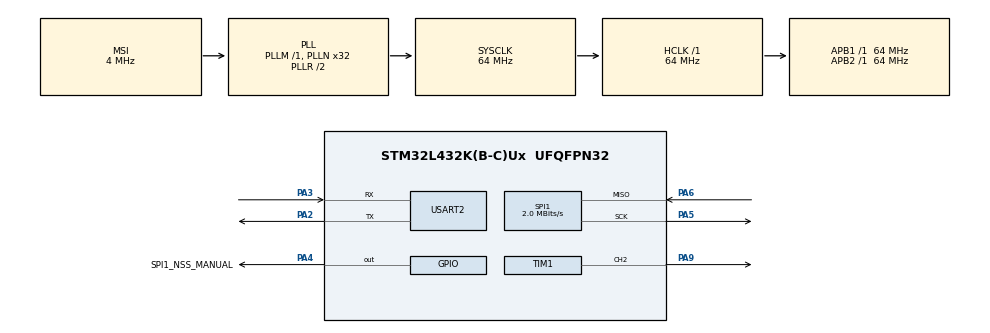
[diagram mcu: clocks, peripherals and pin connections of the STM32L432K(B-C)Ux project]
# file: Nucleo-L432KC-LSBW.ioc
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Mcu.Family=STM32L4
Mcu.Name=STM32L432K(B-C)Ux
Mcu.Package=UFQFPN32
NVIC.PriorityGroup=NVIC_PRIORITYGROUP_4
NVIC.TIM1_UP_TIM16_IRQn=true\:0\:0\:false\:false\:true\:true\:true\:true
NVIC.TIM6_DAC_IRQn=true\:0\:0\:false\:false\:true\:true\:true\:true
NVIC.TIM7_IRQn=true\:0\:0\:false\:false\:true\:true\:true\:true
NVIC.USART2_IRQn=true\:0\:0\:false\:false\:true\:true\:true\:true
PA13\ (JTMS-SWDIO).Mode=Serial_Wire
PA13\ (JTMS-SWDIO).Signal=SYS_JTMS-SWDIO
PA14\ (JTCK-SWCLK).Mode=Serial_Wire
PA14\ (JTCK-SWCLK).Signal=SYS_JTCK-SWCLK
PA2.Mode=Asynchronous
PA2.Signal=USART2_TX
PA3.Mode=Asynchronous
PA3.Signal=USART2_RX
PA4.GPIO_Label=SPI1_NSS_MANUAL
PA4.Signal=GPIO_Output
PA5.Mode=RX_Only_Simplex_Unidirect_Master
PA5.Signal=SPI1_SCK
PA6.Mode=RX_Only_Simplex_Unidirect_Master
PA6.Signal=SPI1_MISO
PA9.Signal=S_TIM1_CH2
ProjectManager.HeapSize=0x200
ProjectManager.StackSize=0x400
ProjectManager.TargetToolchain=STM32CubeIDE
RCC.ADCFreq_Value=16000000
RCC.AHBFreq_Value=64000000
RCC.APB1Freq_Value=64000000
RCC.APB1TimFreq_Value=64000000
RCC.APB2Freq_Value=64000000
RCC.APB2TimFreq_Value=64000000
RCC.CortexFreq_Value=64000000
RCC.HCLKFreq_Value=64000000
RCC.HSE_VALUE=8000000
RCC.HSI48_VALUE=48000000
RCC.HSI_VALUE=16000000
RCC.LSE_VALUE=32768
RCC.MSI_VALUE=4000000
RCC.PLLN=32
RCC.SYSCLKFreq_VALUE=64000000
RCC.SYSCLKSource=RCC_SYSCLKSOURCE_PLLCLK
RCC.USBFreq_Value=16000000
RCC.VCOOutputFreq_Value=128000000
SH.S_TIM1_CH2.0=TIM1_CH2,PWM Generation2 CH2
SPI1.BaudRatePrescaler=SPI_BAUDRATEPRESCALER_32
SPI1.CLKPhase=SPI_PHASE_2EDGE
SPI1.CalculateBaudRate=2.0 MBits/s
SPI1.DataSize=SPI_DATASIZE_16BIT
SPI1.Direction=SPI_DIRECTION_2LINES_RXONLY
SPI1.Mode=SPI_MODE_MASTER
SPI1.VirtualType=VM_MASTER
TIM1.Channel-PWM\ Generation2\ CH2=TIM_CHANNEL_2
TIM1.Period=1999
TIM1.Prescaler=639
TIM1.Pulse-PWM\ Generation2\ CH2=100
TIM16.Period=20000
TIM16.Prescaler=160-1
TIM6.Period=40000
TIM6.Prescaler=16-1
TIM7.Period=20000
TIM7.Prescaler=16-1
USART2.VirtualMode-Asynchronous=VM_ASYNC
VP_TIM16_VS_ClockSourceINT.Mode=Enable_Timer
VP_TIM6_VS_ClockSourceINT.Mode=Enable_Timer
VP_TIM7_VS_ClockSourceINT.Mode=Enable_Timer
board=custom

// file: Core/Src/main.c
/* USER CODE BEGIN Header */
/**
  ******************************************************************************
  * @file           : main.c
  * @brief          : Main program body
  ******************************************************************************
  * @attention
  *
  * Copyright (c) 2022 STMicroelectronics.
  * All rights reserved.
  *
  * This software is licensed under terms that can be found in the LICENSE file
  * in the root directory of this software component.
  * If no LICENSE file comes with this software, it is provided AS-IS.
  *
  ******************************************************************************
  */
/* USER CODE END Header */
#include "main.h"

/* USER CODE BEGIN Includes */

#include "utils.h"
#include "math.h"
#include <stdio.h>
#include "as5047p.h"
#include <stdbool.h>
/* USER CODE END Includes */

SPI_HandleTypeDef hspi1;

TIM_HandleTypeDef htim1;
TIM_HandleTypeDef htim6;
TIM_HandleTypeDef htim7;
TIM_HandleTypeDef htim16;

UART_HandleTypeDef huart2;

void SystemClock_Config(void);
static void MX_GPIO_Init(void);
static void MX_USART2_UART_Init(void);
static void MX_SPI1_Init(void);
static void MX_TIM6_Init(void);
static void MX_TIM7_Init(void);
static void MX_TIM16_Init(void);
static void MX_TIM1_Init(void);

/* USER CODE BEGIN 0 */
double error = 0.0;
double error_prev = 0.0;

double steerRaw = 0.0;
double steer_measured = 0.0;
double steer_desired = 0.0;
double const steer_offset = -160;
const double steer_left = 40;
const double steer_right = 190;
const double steer_center = (steer_right + steer_left) / 2;

//full right is 200, full left is 100, hold position is 150
int dutyCycle = 150;
int dutyMax = 200;
int dutyMin = 100;

// uart print to serial terminal for debugging purpose
int _write(int file, char *ptr, int len){
	HAL_UART_Transmit(&huart2, (uint8_t*)ptr, len, HAL_MAX_DELAY);
	return len;
}

// read the current steering angle from the sensor
double steerSum = 0.0;
const int steerLength = 55;
double steerBuffer[55] = {0};
int steerIndex = 0;
bool steerFilled = false;
void read_steer(){
	as5047p_spi_comm_stats_t as5047p;

    if (spi_as5047p_blocking_read(&steerRaw, &as5047p) == HAL_OK) {
    	steerRaw += steer_offset;
    	if (steerRaw <0) steerRaw += 360;
    	//rolling average
    	double newSample = steerRaw;

    	        // Remove oldest value
    	        steerSum -= steerBuffer[steerIndex];
    	        // Add new value
    	        steerBuffer[steerIndex] = newSample;
    	        steerSum += newSample;

    	        // Advance index
    	        steerIndex = (steerIndex + 1) % steerLength;

    	        // Compute average
    	        int divisor = steerFilled ? steerLength : steerIndex;
    	        if (steerIndex == 0) steerFilled = true;

    	        steer_measured = steerSum / (double)divisor;
    }
}

// modified PID control for steering current
void computeDutyCycle(){

	if (steer_desired > steer_right || steer_desired < steer_left)
	{
		dutyCycle = (dutyMax + dutyMin) / 2;
		return;
	}
	if (steer_measured > steer_right || steer_measured < steer_left)
	{
		dutyCycle = (dutyMax + dutyMin) / 2;
		return;
	}

    error = steer_desired - steer_measured;
    //positive = turn left, negative = right

    // ignore small error to avoid oscillation
    if (fabs(error) < 0.1)
    {
    	error = error_prev = 0.0;
    	dutyCycle = (dutyMax + dutyMin) / 2;
    	return;
    }

    double limit = fabs(steer_right - steer_left) * 0.7 * 3; //the minimum error value for which the duty cycle is maximized.
    int m = (dutyMax + dutyMin)/2;
    double minOffset = m / 25;
    double sign = error / fabs(error);
    int duty = m -(error * m/(limit*1.136)) - sign*minOffset; //1.5 fixes the shift from minOffset

    dutyCycle = duty;

	//max duty cyle at |error| > limit

    if (dutyCycle > dutyMax){
    	dutyCycle = dutyMax;
    }
    if (dutyCycle < dutyMin){
    	dutyCycle = dutyMin;
    }

	error_prev = error;
}

void HAL_TIM_PeriodElapsedCallback(TIM_HandleTypeDef *htim) {
	// 25Hz - 40ms steering motor NEO1650 control loop
	if (htim == &htim6) {
		steer_desired = steer_center;
		computeDutyCycle();

		//steering bounds are 22 to 32 -- center is 27

		//send_command();
	}

	// 50Hz - 20ms read current steering angle from AS5047 sensor
	if (htim == &htim7) {
		read_steer();
	}
}

/* USER CODE END 0 */

int main(void)
{

  /* MCU Configuration--------------------------------------------------------*/

  /* Reset of all peripherals, Initializes the Flash interface and the Systick. */
  HAL_Init();

  /* Configure the system clock */
  SystemClock_Config();

  /* Initialize all configured peripherals */
  MX_GPIO_Init();
  MX_USART2_UART_Init();
  MX_SPI1_Init();
  MX_TIM6_Init();
  MX_TIM7_Init();
  MX_TIM16_Init();
  MX_TIM1_Init();
  /* USER CODE BEGIN 2 */

  HAL_TIM_PWM_Start(&htim1, TIM_CHANNEL_2);

  /* USER CODE END 2 */

  /* Infinite loop */
  /* USER CODE BEGIN WHILE */
  while (1)
  {
	  __HAL_TIM_SET_COMPARE(&htim1, TIM_CHANNEL_2, dutyCycle);
  }
    /* USER CODE END WHILE */

}

void SystemClock_Config(void)
{
  RCC_OscInitTypeDef RCC_OscInitStruct = {0};
  RCC_ClkInitTypeDef RCC_ClkInitStruct = {0};

  /** Configure the main internal regulator output voltage
  */
  if (HAL_PWREx_ControlVoltageScaling(PWR_REGULATOR_VOLTAGE_SCALE1) != HAL_OK)
  {
    Error_Handler();
  }

  /** Initializes the RCC Oscillators according to the specified parameters
  * in the RCC_OscInitTypeDef structure.
  */
  RCC_OscInitStruct.OscillatorType = RCC_OSCILLATORTYPE_MSI;
  RCC_OscInitStruct.MSIState = RCC_MSI_ON;
  RCC_OscInitStruct.MSICalibrationValue = 0;
  RCC_OscInitStruct.MSIClockRange = RCC_MSIRANGE_6;
  RCC_OscInitStruct.PLL.PLLState = RCC_PLL_ON;
  RCC_OscInitStruct.PLL.PLLSource = RCC_PLLSOURCE_MSI;
  RCC_OscInitStruct.PLL.PLLM = 1;
  RCC_OscInitStruct.PLL.PLLN = 32;
  RCC_OscInitStruct.PLL.PLLP = RCC_PLLP_DIV7;
  RCC_OscInitStruct.PLL.PLLQ = RCC_PLLQ_DIV2;
  RCC_OscInitStruct.PLL.PLLR = RCC_PLLR_DIV2;
  if (HAL_RCC_OscConfig(&RCC_OscInitStruct) != HAL_OK)
  {
    Error_Handler();
  }

  /** Initializes the CPU, AHB and APB buses clocks
  */
  RCC_ClkInitStruct.ClockType = RCC_CLOCKTYPE_HCLK|RCC_CLOCKTYPE_SYSCLK
                              |RCC_CLOCKTYPE_PCLK1|RCC_CLOCKTYPE_PCLK2;
  RCC_ClkInitStruct.SYSCLKSource = RCC_SYSCLKSOURCE_PLLCLK;
  RCC_ClkInitStruct.AHBCLKDivider = RCC_SYSCLK_DIV1;
  RCC_ClkInitStruct.APB1CLKDivider = RCC_HCLK_DIV1;
  RCC_ClkInitStruct.APB2CLKDivider = RCC_HCLK_DIV1;

  if (HAL_RCC_ClockConfig(&RCC_ClkInitStruct, FLASH_LATENCY_3) != HAL_OK)
  {
    Error_Handler();
  }
}

static void MX_SPI1_Init(void)
{

  /* SPI1 parameter configuration*/
  hspi1.Instance = SPI1;
  hspi1.Init.Mode = SPI_MODE_MASTER;
  hspi1.Init.Direction = SPI_DIRECTION_2LINES_RXONLY;
  hspi1.Init.DataSize = SPI_DATASIZE_16BIT;
  hspi1.Init.CLKPolarity = SPI_POLARITY_LOW;
  hspi1.Init.CLKPhase = SPI_PHASE_2EDGE;
  hspi1.Init.NSS = SPI_NSS_SOFT;
  hspi1.Init.BaudRatePrescaler = SPI_BAUDRATEPRESCALER_32;
  hspi1.Init.FirstBit = SPI_FIRSTBIT_MSB;
  hspi1.Init.TIMode = SPI_TIMODE_DISABLE;
  hspi1.Init.CRCCalculation = SPI_CRCCALCULATION_DISABLE;
  hspi1.Init.CRCPolynomial = 7;
  hspi1.Init.CRCLength = SPI_CRC_LENGTH_DATASIZE;
  hspi1.Init.NSSPMode = SPI_NSS_PULSE_DISABLE;
  if (HAL_SPI_Init(&hspi1) != HAL_OK)
  {
    Error_Handler();
  }

}

static void MX_TIM1_Init(void)
{

  TIM_MasterConfigTypeDef sMasterConfig = {0};
  TIM_OC_InitTypeDef sConfigOC = {0};
  TIM_BreakDeadTimeConfigTypeDef sBreakDeadTimeConfig = {0};

  htim1.Instance = TIM1;
  htim1.Init.Prescaler = 639;
  htim1.Init.CounterMode = TIM_COUNTERMODE_UP;
  htim1.Init.Period = 1999;
  htim1.Init.ClockDivision = TIM_CLOCKDIVISION_DIV1;
  htim1.Init.RepetitionCounter = 0;
  htim1.Init.AutoReloadPreload = TIM_AUTORELOAD_PRELOAD_DISABLE;
  if (HAL_TIM_PWM_Init(&htim1) != HAL_OK)
  {
    Error_Handler();
  }
  sMasterConfig.MasterOutputTrigger = TIM_TRGO_RESET;
  sMasterConfig.MasterOutputTrigger2 = TIM_TRGO2_RESET;
  sMasterConfig.MasterSlaveMode = TIM_MASTERSLAVEMODE_DISABLE;
  if (HAL_TIMEx_MasterConfigSynchronization(&htim1, &sMasterConfig) != HAL_OK)
  {
    Error_Handler();
  }
  sConfigOC.OCMode = TIM_OCMODE_PWM1;
  sConfigOC.Pulse = 100;
  sConfigOC.OCPolarity = TIM_OCPOLARITY_HIGH;
  sConfigOC.OCNPolarity = TIM_OCNPOLARITY_HIGH;
  sConfigOC.OCFastMode = TIM_OCFAST_DISABLE;
  sConfigOC.OCIdleState = TIM_OCIDLESTATE_RESET;
  sConfigOC.OCNIdleState = TIM_OCNIDLESTATE_RESET;
  if (HAL_TIM_PWM_ConfigChannel(&htim1, &sConfigOC, TIM_CHANNEL_2) != HAL_OK)
  {
    Error_Handler();
  }
  sBreakDeadTimeConfig.OffStateRunMode = TIM_OSSR_DISABLE;
  sBreakDeadTimeConfig.OffStateIDLEMode = TIM_OSSI_DISABLE;
  sBreakDeadTimeConfig.LockLevel = TIM_LOCKLEVEL_OFF;
  sBreakDeadTimeConfig.DeadTime = 0;
  sBreakDeadTimeConfig.BreakState = TIM_BREAK_DISABLE;
  sBreakDeadTimeConfig.BreakPolarity = TIM_BREAKPOLARITY_HIGH;
  sBreakDeadTimeConfig.BreakFilter = 0;
  sBreakDeadTimeConfig.Break2State = TIM_BREAK2_DISABLE;
  sBreakDeadTimeConfig.Break2Polarity = TIM_BREAK2POLARITY_HIGH;
  sBreakDeadTimeConfig.Break2Filter = 0;
  sBreakDeadTimeConfig.AutomaticOutput = TIM_AUTOMATICOUTPUT_DISABLE;
  if (HAL_TIMEx_ConfigBreakDeadTime(&htim1, &sBreakDeadTimeConfig) != HAL_OK)
  {
    Error_Handler();
  }
  HAL_TIM_MspPostInit(&htim1);

}

static void MX_TIM6_Init(void)
{

  TIM_MasterConfigTypeDef sMasterConfig = {0};

  htim6.Instance = TIM6;
  htim6.Init.Prescaler = 16-1;
  htim6.Init.CounterMode = TIM_COUNTERMODE_UP;
  htim6.Init.Period = 40000;
  htim6.Init.AutoReloadPreload = TIM_AUTORELOAD_PRELOAD_DISABLE;
  if (HAL_TIM_Base_Init(&htim6) != HAL_OK)
  {
    Error_Handler();
  }
  sMasterConfig.MasterOutputTrigger = TIM_TRGO_RESET;
  sMasterConfig.MasterSlaveMode = TIM_MASTERSLAVEMODE_DISABLE;
  if (HAL_TIMEx_MasterConfigSynchronization(&htim6, &sMasterConfig) != HAL_OK)
  {
    Error_Handler();
  }
  /* USER CODE BEGIN TIM6_Init 2 */
  HAL_TIM_Base_Start_IT(&htim6);
  /* USER CODE END TIM6_Init 2 */

}

static void MX_TIM7_Init(void)
{

  TIM_MasterConfigTypeDef sMasterConfig = {0};

  htim7.Instance = TIM7;
  htim7.Init.Prescaler = 16-1;
  htim7.Init.CounterMode = TIM_COUNTERMODE_UP;
  htim7.Init.Period = 20000;
  htim7.Init.AutoReloadPreload = TIM_AUTORELOAD_PRELOAD_DISABLE;
  if (HAL_TIM_Base_Init(&htim7) != HAL_OK)
  {
    Error_Handler();
  }
  sMasterConfig.MasterOutputTrigger = TIM_TRGO_RESET;
  sMasterConfig.MasterSlaveMode = TIM_MASTERSLAVEMODE_DISABLE;
  if (HAL_TIMEx_MasterConfigSynchronization(&htim7, &sMasterConfig) != HAL_OK)
  {
    Error_Handler();
  }
  /* USER CODE BEGIN TIM7_Init 2 */
  HAL_TIM_Base_Start_IT(&htim7);
  /* USER CODE END TIM7_Init 2 */

}

static void MX_TIM16_Init(void)
{

  htim16.Instance = TIM16;
  htim16.Init.Prescaler = 160-1;
  htim16.Init.CounterMode = TIM_COUNTERMODE_UP;
  htim16.Init.Period = 20000;
  htim16.Init.ClockDivision = TIM_CLOCKDIVISION_DIV1;
  htim16.Init.RepetitionCounter = 0;
  htim16.Init.AutoReloadPreload = TIM_AUTORELOAD_PRELOAD_DISABLE;
  if (HAL_TIM_Base_Init(&htim16) != HAL_OK)
  {
    Error_Handler();
  }
  /* USER CODE BEGIN TIM16_Init 2 */
  HAL_TIM_Base_Start_IT(&htim16);
  /* USER CODE END TIM16_Init 2 */

}

static void MX_USART2_UART_Init(void)
{

  huart2.Instance = USART2;
  huart2.Init.BaudRate = 115200;
  huart2.Init.WordLength = UART_WORDLENGTH_8B;
  huart2.Init.StopBits = UART_STOPBITS_1;
  huart2.Init.Parity = UART_PARITY_NONE;
  huart2.Init.Mode = UART_MODE_TX_RX;
  huart2.Init.HwFlowCtl = UART_HWCONTROL_NONE;
  huart2.Init.OverSampling = UART_OVERSAMPLING_16;
  huart2.Init.OneBitSampling = UART_ONE_BIT_SAMPLE_DISABLE;
  huart2.AdvancedInit.AdvFeatureInit = UART_ADVFEATURE_NO_INIT;
  if (HAL_UART_Init(&huart2) != HAL_OK)
  {
    Error_Handler();
  }

}

static void MX_GPIO_Init(void)
{
  GPIO_InitTypeDef GPIO_InitStruct = {0};

  /* GPIO Ports Clock Enable */
  __HAL_RCC_GPIOA_CLK_ENABLE();

  /*Configure GPIO pin Output Level */
  HAL_GPIO_WritePin(SPI1_NSS_MANUAL_GPIO_Port, SPI1_NSS_MANUAL_Pin, GPIO_PIN_RESET);

  /*Configure GPIO pin : SPI1_NSS_MANUAL_Pin */
  GPIO_InitStruct.Pin = SPI1_NSS_MANUAL_Pin;
  GPIO_InitStruct.Mode = GPIO_MODE_OUTPUT_PP;
  GPIO_InitStruct.Pull = GPIO_NOPULL;
  GPIO_InitStruct.Speed = GPIO_SPEED_FREQ_LOW;
  HAL_GPIO_Init(SPI1_NSS_MANUAL_GPIO_Port, &GPIO_InitStruct);

}

void Error_Handler(void)
{
  __disable_irq();
  while (1)
  {
  }
}
